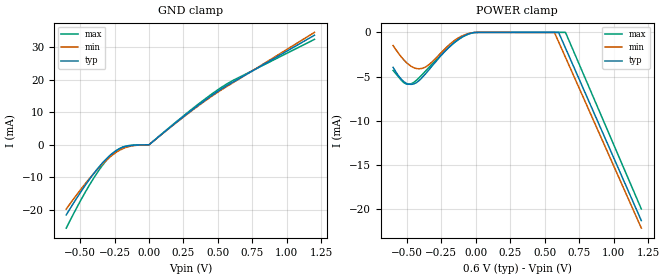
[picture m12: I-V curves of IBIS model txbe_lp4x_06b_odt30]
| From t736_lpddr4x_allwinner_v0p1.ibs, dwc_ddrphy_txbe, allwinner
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[Model] txbe_lp4x_06b_odt30
Model_type   Input
Polarity   Non-Inverting
Enable   Active-High
C_comp   914.329fF   912.420fF   915.002fF
C_comp_pullup   276.313fF   269.749fF   280.141fF
C_comp_pulldown 462.569fF   461.771fF   469.653fF
Vinh = 420.000mV
Vinl = 300.000mV
[Model Spec]
D_overshoot_ampl_h 0.1 NA   NA
D_overshoot_ampl_l 0.1 NA   NA
D_overshoot_area_l 300.000m NA   NA
D_overshoot_area_h 300.000m NA   NA
[Receiver Thresholds]
Vth = 180.000mV
Vth_min = 171.000mV
Vth_max = 195.000mV
Vinh_ac = 60.000mV
Vinh_dc = 60.000mV
Vinl_ac = -60.000mV
Vinl_dc = -60.000mV
Tslew_ac = 5.000ns
Threshold_sensitivity = 0.5
Reference_supply Power_clamp_ref
[Temperature Range]   25.000   125.000   -40.000
[Voltage Range]   600.000mV   570.000mV   650.000mV
[GND Clamp Reference]   0.00V   0.00V   0.00V
[C Comp Corner]
| variable   typ   min   max
C_comp 912.420fF   915.002fF   914.329fF
C_comp_pullup 276.313fF   280.141fF   269.749fF
C_comp_pulldown 461.771fF   469.653fF   462.569fF
[POWER Clamp Reference]   600.000mV   570.000mV   650.000mV
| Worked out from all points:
|   GND clamp passes 1 mA (typ) near -0.20 V on its own axis
|   POWER clamp passes 1 mA (typ) near -0.14 V on its own axis
[GND Clamp]
-600mV    -21.54mA   -19.75mA   -25.61mA
-480mV    -13.56mA   -12.92mA   -15.91mA
-390mV    -8.257mA   -8.297mA   -9.524mA
-320mV    -4.773mA   -5.167mA   -5.358mA
-240mV    -1.825mA   -2.359mA   -1.916mA
-190mV    -743.3uA   -1.176mA   -695.3uA
-150mV    -304.9uA   -577.5uA   -247.3uA
0V        0A         0A         0A
290mV     9.991mA    9.831mA    10.26mA
530mV     17.3mA     17.02mA    17.79mA
620mV     19.54mA    19.37mA    20.03mA
1.2V      33.69mA    34.57mA    32.42mA
[Power Clamp]
-600mV    -3.96mA    -1.49mA    -4.31mA
-540mV    -5.316mA   -2.798mA   -5.426mA
-500mV    -5.81mA    -3.47mA    -5.87mA
-450mV    -5.84mA    -4mA       -5.66mA
-410mV    -5.434mA   -4.122mA   -5.114mA
-340mV    -4.236mA   -3.648mA   -3.966mA
-190mV    -1.616mA   -1.358mA   -1.616mA
-60mV     -214uA     -162uA     -244uA
570mV     -1.666uA   -15.38uA   -368.1nA
600mV     -1.765uA   -1.07mA    -390.6nA
650mV     -1.778mA   -2.827mA   -428.3nA
1.2V      -21.31mA   -22.16mA   -19.99mA
